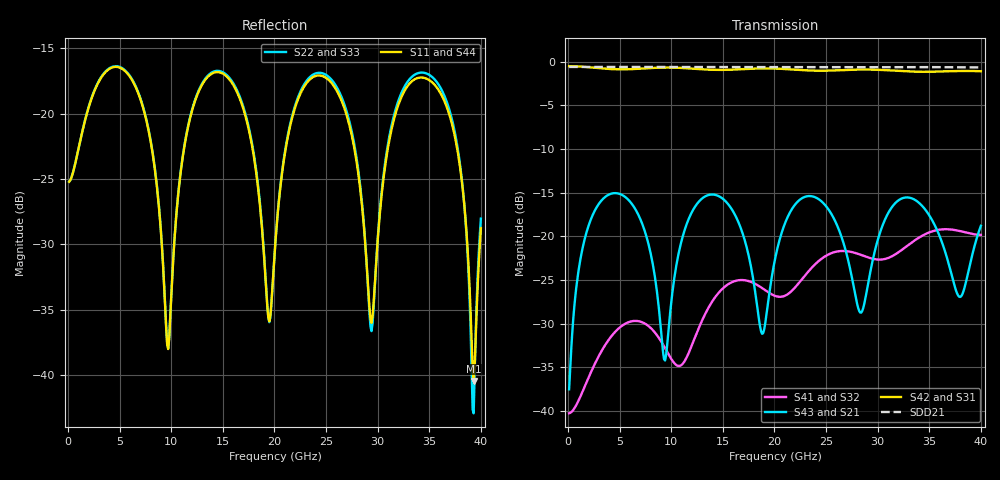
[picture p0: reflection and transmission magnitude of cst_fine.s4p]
! thru_BV_ts_m2_per0_out: 2×thru In3.Cu, 8 mm, pair
! stackup: as the board case
! ports: 1 near, 2 near, 3 far, 4 far
! CST Studio Suite 2025.5 Release from 2025-05-30, time domain (FIT, hexahedral, PBA), 214200 mesh cells, 49 s
! mesh: {'lpw': 30.0, 'lpb': 30.0, 'minstep': 0.0, 'ratio': 20}; ports: port 1 (face); port 2 (face); port 3 (face); port 4 (face)
! interpolated from CST's 1001 samples to the case grid
# Hz S RI R 50
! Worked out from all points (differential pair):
!   400 points, 100 MHz to 40 GHz, reference 50 ohm
!   strongest paths, dB at 100 MHz, 10.1 GHz, 20.1 GHz, 30.1 GHz, 40 GHz:
!     S42: -0.5, -0.7, -0.8, -0.9, -1.1
!     S31: -0.5, -0.7, -0.8, -0.9, -1.1
!     S43: -37.5, -26.5, -22.3, -20.1, -18.8
!     S21: -37.5, -26.5, -22.3, -20.1, -18.8
!     S41: -40.3, -34.2, -26.8, -22.7, -19.8
!     S32: -40.3, -34.3, -26.9, -22.8, -19.9
!   taken as a pair (ports 2,1 in; 4,3 out), SDD21 dB: -0.6, -0.6, -0.6, -0.6, -0.7
!   lowest |S11| = -40.4 dB at 39.3 GHz (marker M1), VSWR 1.02, Z = 50.8 - j0.479 ohm
!   |S11| at or under -10 dB: start of sweep to end of sweep
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1e8  -0.0545 0.00701  0.0119 0.00592  0.9426 -0.0334  0.00958 -0.00137
     0.0119 0.00592  -0.0545 0.00703  0.00959 -0.00138  0.9426 -0.0334
     0.9426 -0.0334  0.00959 -0.00138  -0.0545 0.00703  0.0119 0.00592
     0.00958 -0.00137  0.9426 -0.0334  0.0119 0.00592  -0.0545 0.00701
9.2e9  0.0163 -0.0209  0.0197 -0.00919  -0.9256 -0.00558  0.0074 -0.0228
       0.0197 -0.00919  0.0172 -0.0205  0.00758 -0.0227  -0.9256 -0.00558
       -0.9256 -0.00558  0.00758 -0.0227  0.0172 -0.0205  0.0197 -0.00919
       0.0074 -0.0228  -0.9256 -0.00558  0.0197 -0.00919  0.0163 -0.0209
1.81e10  0.0315 -0.0565  0.0345 -0.0352  0.907 0.1086  -0.0235 0.0481
         0.0345 -0.0352  0.0362 -0.0552  -0.0242 0.0477  0.907 0.1086
         0.907 0.1086  -0.0242 0.0477  0.0362 -0.0552  0.0345 -0.0352
         -0.0235 0.0481  0.907 0.1086  0.0345 -0.0352  0.0315 -0.0565
2.35e10  0.1357 -0.00594  0.1695 -0.0118  -0.1478 -0.8782  0.0568 0.0316
         0.1695 -0.0118  0.1385 0.00797  0.0546 0.032  -0.1478 -0.8782
         -0.1478 -0.8782  0.0546 0.032  0.1385 0.00797  0.1695 -0.0118
         0.0568 0.0316  -0.1478 -0.8782  0.1695 -0.0118  0.1357 -0.00594
3.24e10  0.1178 0.00729  0.1652 0.00621  0.0604 0.8813  -0.0738 -0.0403
         0.1652 0.00621  0.1198 0.0246  -0.0713 -0.0401  0.0604 0.8813
         0.0604 0.8813  -0.0713 -0.0401  0.1198 0.0246  0.1652 0.00621
         -0.0738 -0.0403  0.0604 0.8813  0.1652 0.00621  0.1178 0.00729
3.93e10  0.00828 -0.00471  0.0741 0.0401  0.5827 -0.6659  0.0468 0.0916
         0.0741 0.0401  0.00715 -0.000472  0.0465 0.0913  0.5827 -0.6659
         0.5827 -0.6659  0.0465 0.0913  0.00715 -0.000472  0.0741 0.0401
         0.0468 0.0916  0.5827 -0.6659  0.0741 0.0401  0.00828 -0.00471
4e10  0.0319 0.0177  0.1043 0.0481  0.4034 -0.7845  0.0639 0.0793
      0.1043 0.0481  0.0292 0.0269  0.0634 0.0784  0.4034 -0.7845
      0.4034 -0.7846  0.0634 0.0784  0.0292 0.0269  0.1043 0.0481
      0.0639 0.0793  0.4034 -0.7845  0.1043 0.0481  0.0319 0.0177
